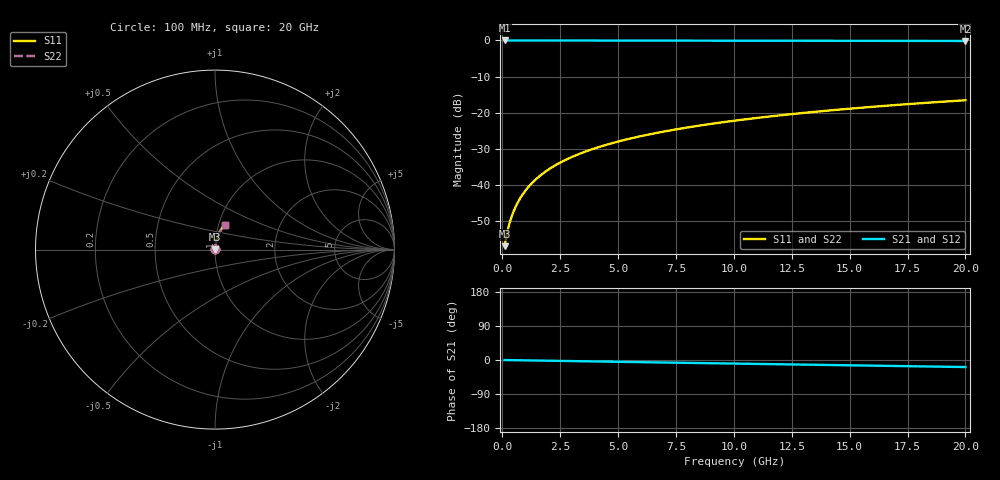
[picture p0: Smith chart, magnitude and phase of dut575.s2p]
! Touchstone file exported from HFSS 2026.1.0
!  File:  C:/ffzhzh/LocalFiles/Ansys_Project_Files/temp_train_BSMRDL_575_1783015594_51716.aedt
!  Generated:  02:07:56 AM Jul  3, 2026
!  Design:  BSMRDL
!  Project:  temp_train_BSMRDL_575_1783015594_51716
! Variables:
!  h_bsmrdl = 5um
!  h_ox = 20um
!  h_rdl = 5um
!  h_sub = 80um
!  h_tmrdl = 5um
!  h_tsv = 80um
!  h_via = 3um
!  l_bsmrdl = 271.45um
!  l_sub = 671.45um
!  l_tmrdl = 200um
!  m_sub = 200um
!  pitch = 38.23um
!  r_tsv = 6um
!  s_tmrdl = 10um
!  w_bsmrdl = 20.57um
!  w_sub = 500um
!  w_tmrdl = 12um
!  x_tsv_center1 = 206um
!  x_tsv_center2 = 498.02um
!  x_tsv_center3 = 710.02um
!  x_tsv_center4 = 1002.04um
!  x_tsv_center5 = 1214.04um
!  x_tsv_center6 = 1506.06um
# GHz S MA R 50.000000
! Terminal data exported
! Port[1] = BSM_RDL1_1_T1
! Port[2] = BSM_RDL1_1_T2
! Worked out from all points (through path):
!   200 points, 100 MHz to 20 GHz, reference 50 ohm
!   highest |S21| = -0.01 dB at 100 MHz (marker M1); lowest = -0.2 dB at 20 GHz (marker M2)
!   group delay of S21, straight-line fit = 2.57 ps
!   lowest |S11| = -56.9 dB at 100 MHz (marker M3), VSWR 1.00, Z = 50.1 + j0.0925 ohm
!   |S11| at or under -10 dB: start of sweep to end of sweep
!   |S22| runs from -56.9 to -16.5 dB; largest |S21 - S12| = 1.9e-15
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0.1  0.001433 40.1  0.9989 -0.1  0.9989 -0.1  0.001433 40.1
! Gamma 0 0 0 0
! Port Impedance 50 0 50 0
0.2  0.002135 56.5  0.9988 -0.2  0.9988 -0.2  0.002135 56.5
0.3  0.002882 64.4  0.9988 -0.3  0.9988 -0.3  0.002882 64.4
0.4  0.003646 69.2  0.9987 -0.4  0.9987 -0.4  0.003646 69.2
0.5  0.004422 72.4  0.9987 -0.5  0.9987 -0.5  0.004422 72.4
0.6  0.005208 74.7  0.9986 -0.6  0.9986 -0.6  0.005208 74.7
0.8  0.0068 77.6  0.9986 -0.8  0.9986 -0.8  0.0068 77.6
1.1  0.009215 80.0  0.9985 -1.1  0.9985 -1.1  0.009215 80.0
1.5  0.01245 81.5  0.9984 -1.5  0.9984 -1.5  0.01245 81.5
1.8  0.01487 82.0  0.9982 -1.7  0.9982 -1.7  0.01487 82.0
2.1  0.01728 82.2  0.9981 -2.0  0.9981 -2.0  0.01728 82.2
2.7  0.02207 82.3  0.9978 -2.6  0.9978 -2.6  0.02207 82.3
3.5  0.02838 82.1  0.9973 -3.4  0.9973 -3.4  0.02838 82.1
4.2  0.03383 81.7  0.9969 -4.0  0.9969 -4.0  0.03383 81.7
5  0.04 81.2  0.9964 -4.8  0.9964 -4.8  0.04 81.2
5.9  0.04686 80.5  0.9958 -5.6  0.9958 -5.6  0.04687 80.5
6.8  0.05367 79.9  0.9951 -6.5  0.9951 -6.5  0.05367 79.9
8.3  0.06492 78.7  0.994 -7.9  0.994 -7.9  0.06492 78.7
10.1  0.07828 77.3  0.9926 -9.5  0.9926 -9.5  0.07828 77.3
13.4  0.1024 74.7  0.9898 -12.6  0.9898 -12.6  0.1024 74.7
16.7  0.126 71.9  0.9865 -15.6  0.9865 -15.6  0.126 71.9
20  0.149 69.1  0.9828 -18.6  0.9828 -18.6  0.149 69.1
